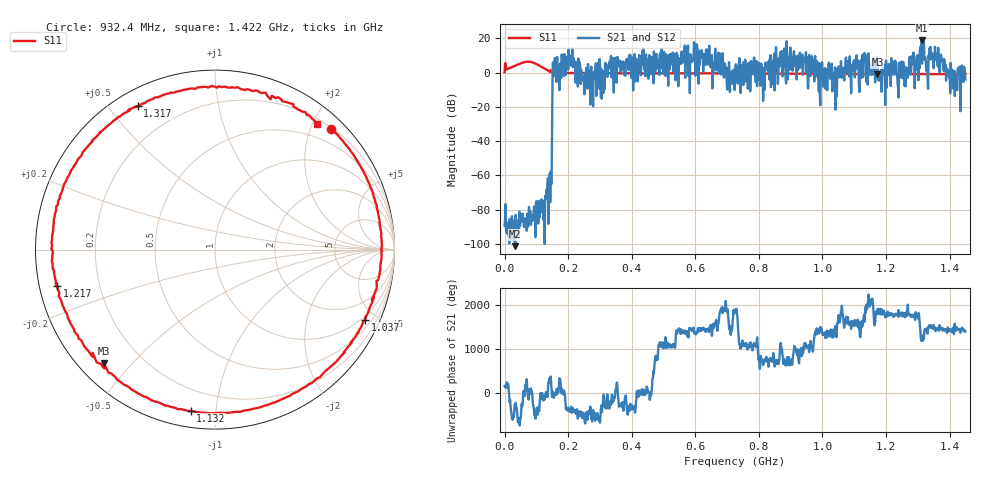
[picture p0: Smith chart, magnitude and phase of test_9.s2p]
! Created with skrf 1.11.0 (http://scikit-rf.org).
# Hz S RI R 50.0
!freq ReS11 ImS11 ReS21 ImS21 ReS12 ImS12 ReS22 ImS22
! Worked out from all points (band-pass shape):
!   1001 points, 50 kHz to 1.45 GHz, reference 50 ohm
!   highest |S21| = 18.81 dB at 1.312 GHz (marker M1); lowest = -101.4 dB at 33.4 MHz (marker M2)
!   |S21| within 3 dB of the highest: 603.1437 MHz to 605.5281 MHz (2.384 MHz wide, 0.395 % of centre); 1.310589 GHz to 1.312575 GHz (1.986 MHz wide, 0.151 % of centre) (the widest 2 of 9)
!   lowest |S11| = -1.1 dB at 1.173 GHz (marker M3), VSWR 16.35, Z = 3.59 - j20.9 ohm
!   |S11| at or under -10 dB: nowhere
!   |S22| runs from - to - dB; largest |S21 - S12| = 0
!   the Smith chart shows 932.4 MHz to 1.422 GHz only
!   S11 on the Smith chart (normalised r, x): 932.4 MHz: 0.22, +2.32; 1.037 GHz: 0.84, -4.35; 1.132 GHz: 0.08, -0.86; 1.217 GHz: 0.05, -0.11; 1.317 GHz: 0.06, +0.60; 1.422 GHz: 0.27, +2.07
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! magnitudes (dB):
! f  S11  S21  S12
! 50 kHz  0.3  -89.3  -89.3
! 33.4 MHz  4.1  -101.4  -101.4
! 118.9 MHz  3.1  -81.7  -81.7
! 140.7 MHz  0.8  -64.3  -64.3
! 158.1 MHz  -0.1  8.6  8.6
! 205.9 MHz  -0.2  10.0  10.0
! 242.2 MHz  -0.2  -0.1  -0.1
! 484.3 MHz  -0.4  6.9  6.9
! 601.8 MHz  -0.5  4.0  4.0
! 725 MHz  -0.5  -4.7  -4.7
! 932.4 MHz  -0.6  8.0  8.0
! 967.2 MHz  -0.6  9.7  9.7
! 1.037 GHz  -0.7  -1.0  -1.0
! 1.132 GHz  -0.8  11.5  11.5
! 1.173 GHz  -1.1  5.8  5.8
! 1.209 GHz  -0.9  -0.3  -0.3
! 1.217 GHz  -0.9  8.5  8.5
! 1.266 GHz  -0.8  2.2  2.2
! 1.312 GHz  -0.8  18.8  18.8
! 1.317 GHz  -0.8  18.0  18.0
! 1.422 GHz  -0.9  -4.1  -4.1
! 1.45 GHz  -0.8  -3.9  -3.9
